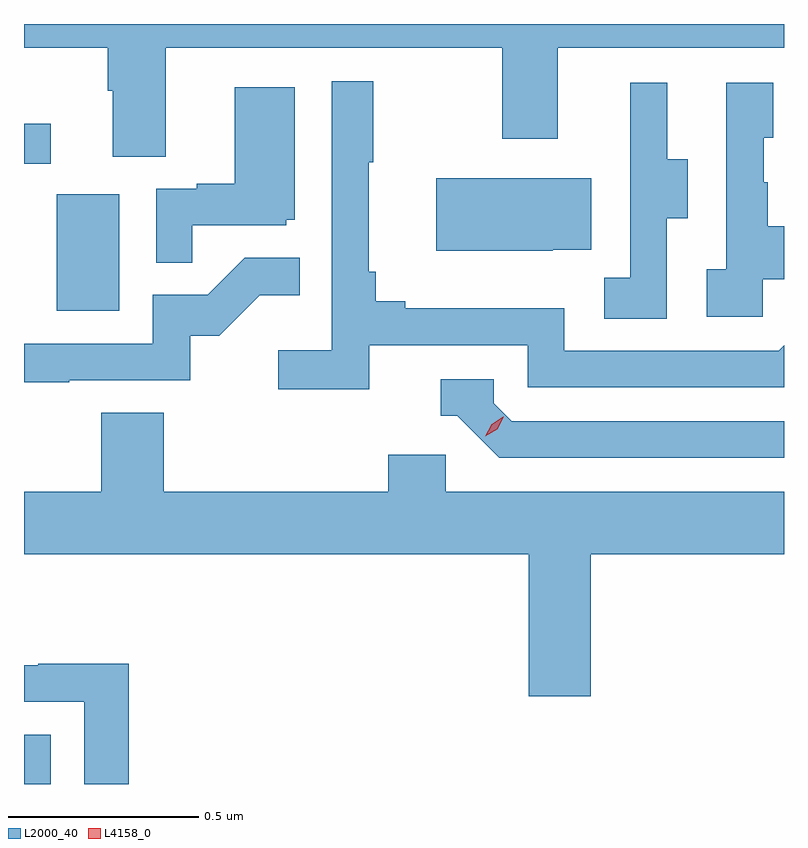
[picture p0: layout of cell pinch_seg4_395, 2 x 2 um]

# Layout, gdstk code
import gdstk
lib = gdstk.Library(unit=1e-6, precision=1e-09)
def R(c, l, rs):  # rectangles x0, y0, x1, y1
    for r in rs: c.add(gdstk.rectangle(r[:2], r[2:], *l))
def P(c, l, *ps):  # polygons
    for p in ps: c.add(gdstk.Polygon(p, *l))
L2000_40 = (2000, 40)
L4158_0 = (4158, 0)

pinch_seg4_395 = lib.new_cell('pinch_seg4_395')
R(pinch_seg4_395, L2000_40, [(990.852,788.223,990.922,788.353), (990.938,789.468,991.102,789.775), (990.852,789.855,990.922,789.961)])
P(pinch_seg4_395, L2000_40, [(991.225,790.16),(992.11,790.16),(992.11,789.921),(992.257,789.921),(992.257,790.16),(992.852,790.16),(992.852,790.223),(990.852,790.223),(990.852,790.16),(991.073,790.16),(991.073,790.048),(991.085,790.048),(991.085,789.874),(991.225,789.874)],
  [(991.76,789.378),(992.178,789.378),(992.178,789.267),(992.852,789.267),(992.852,789.377),(992.838,789.363),(992.274,789.363),(992.274,789.475),(991.855,789.475),(991.855,789.494),(991.778,789.494),(991.778,789.571),(991.759,789.571),(991.759,789.859),(991.771,789.859),(991.771,790.072),(991.662,790.072),(991.662,789.364),(991.521,789.364),(991.521,789.262),(991.76,789.262)],
  [(992.544,789.712),(992.599,789.712),(992.599,789.867),(992.545,789.867),(992.545,790.069),(992.447,790.069),(992.447,789.855),(992.448,789.855),(992.448,789.555),(992.379,789.555),(992.379,789.448),(992.544,789.448)],
  [(992.796,789.551),(992.852,789.551),(992.852,789.691),(992.809,789.691),(992.809,789.806),(992.799,789.806),(992.799,789.924),(992.824,789.924),(992.824,790.069),(992.7,790.069),(992.7,789.578),(992.649,789.578),(992.649,789.453),(992.796,789.453)],
  [(991.295,789.693),(991.542,789.693),(991.542,789.708),(991.564,789.708),(991.564,790.057),(991.406,790.057),(991.406,789.802),(991.307,789.802),(991.307,789.789),(991.2,789.789),(991.2,789.595),(991.295,789.595)],
  [(992.243,789.629),(992.345,789.629),(992.345,789.817),(991.937,789.817),(991.937,789.626),(992.243,789.626)],
  [(990.971,789.285),(991.29,789.285),(991.29,789.402),(991.366,789.402),(991.473,789.509),(991.577,789.509),(991.577,789.608),(991.433,789.608),(991.335,789.51),(991.191,789.51),(991.191,789.381),(990.852,789.381),(990.852,789.28),(990.971,789.28)],
  [(992.852,789.177),(992.136,789.177),(992.088,789.225),(992.088,789.288),(991.949,789.288),(991.949,789.192),(991.992,789.192),(992.103,789.081),(992.852,789.081)],
  [(992.344,788.828),(992.852,788.828),(992.852,788.992),(991.962,788.992),(991.962,789.09),(991.811,789.09),(991.811,788.992),(991.22,788.992),(991.22,789.2),(991.055,789.2),(991.055,788.992),(990.852,788.992),(990.852,788.828),(992.18,788.828),(992.18,788.454),(992.344,788.454)],
  [(991.127,788.54),(990.889,788.54),(990.889,788.535),(990.852,788.535),(990.852,788.439),(991.011,788.439),(991.011,788.223),(991.127,788.223)])
P(pinch_seg4_395, L4158_0, [(992.066,789.138),(992.066,789.138),(992.083,789.17),(992.113,789.19),(992.114,789.19),(992.114,789.189),(992.097,789.157),(992.066,789.138)])

lib.write_gds('pinch_seg4_395.gds')
